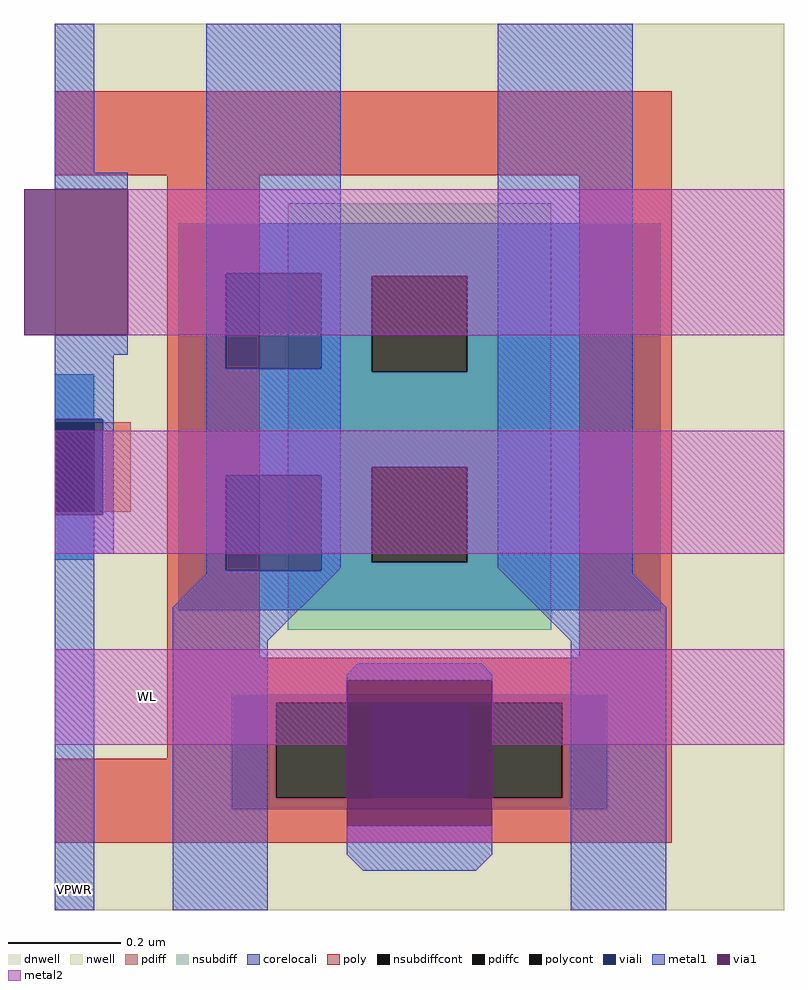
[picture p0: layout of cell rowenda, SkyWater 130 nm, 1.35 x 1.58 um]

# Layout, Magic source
magic
tech sky130A
magscale 1 2
<< dnwell >>
rect 0 0 260 316
<< nwell >>
rect 0 0 260 316
<< pdiff >>
rect 14 142 27 174
<< pdiffc >>
rect 0 142 14 174
<< nsubdiff >>
rect 83 226 177 252
rect 83 192 113 226
rect 147 192 177 226
rect 83 158 177 192
rect 83 124 113 158
rect 147 124 177 158
rect 83 100 177 124
<< nsubdiffcont >>
rect 113 192 147 226
rect 113 124 147 158
<< poly >>
rect 0 262 220 292
rect 40 90 73 262
rect 187 90 220 262
rect 40 74 220 90
rect 40 54 79 74
rect 0 40 79 54
rect 113 40 147 74
rect 181 40 220 74
rect 0 24 220 40
<< polycont >>
rect 79 40 113 74
rect 147 40 181 74
<< corelocali >>
rect 44 227 216 245
rect 44 193 61 227
rect 95 226 216 227
rect 95 193 113 226
rect 44 192 113 193
rect 147 192 216 226
rect 0 175 14 191
rect 44 158 216 192
rect 44 155 113 158
rect 0 125 14 141
rect 44 121 61 155
rect 95 124 113 155
rect 147 124 216 158
rect 95 121 216 124
rect 44 107 216 121
rect 63 74 197 77
rect 63 40 79 74
rect 181 40 197 74
rect 63 36 197 40
<< viali >>
rect 61 193 95 227
rect 0 174 17 175
rect 0 142 14 174
rect 14 142 17 174
rect 0 141 17 142
rect 61 121 95 155
rect 113 40 147 74
<< metal1 >>
rect 0 263 14 316
rect 0 257 26 263
rect 0 198 26 205
rect 54 227 102 316
rect 0 175 21 198
rect 17 141 21 175
rect 0 127 21 141
rect 54 193 61 227
rect 95 193 102 227
rect 54 155 102 193
rect 0 0 14 127
rect 54 121 61 155
rect 95 122 102 155
rect 95 121 100 122
rect 54 120 100 121
tri 100 120 102 122 nw
rect 158 122 206 316
tri 42 108 54 120 se
rect 54 108 76 120
rect 42 0 76 108
tri 76 96 100 120 nw
tri 158 96 184 122 ne
rect 184 108 206 122
tri 206 108 218 120 sw
tri 104 84 108 88 se
rect 108 84 152 88
tri 152 84 156 88 sw
rect 104 82 156 84
rect 104 20 156 30
tri 104 14 110 20 ne
rect 110 14 150 20
tri 150 14 156 20 nw
rect 184 0 218 108
<< via1 >>
rect -11 205 26 257
rect 104 74 156 82
rect 104 40 113 74
rect 113 40 147 74
rect 147 40 156 74
rect 104 30 156 40
<< metal2 >>
rect 26 205 260 257
rect 0 127 260 171
rect 0 82 260 93
rect 0 59 104 82
rect 156 59 260 82
rect 104 24 156 30
<< labels >>
rlabel metal1 s 0 0 14 15 4 VPWR
rlabel metal2 s 33 76 33 76 4 WL
<< end >>
